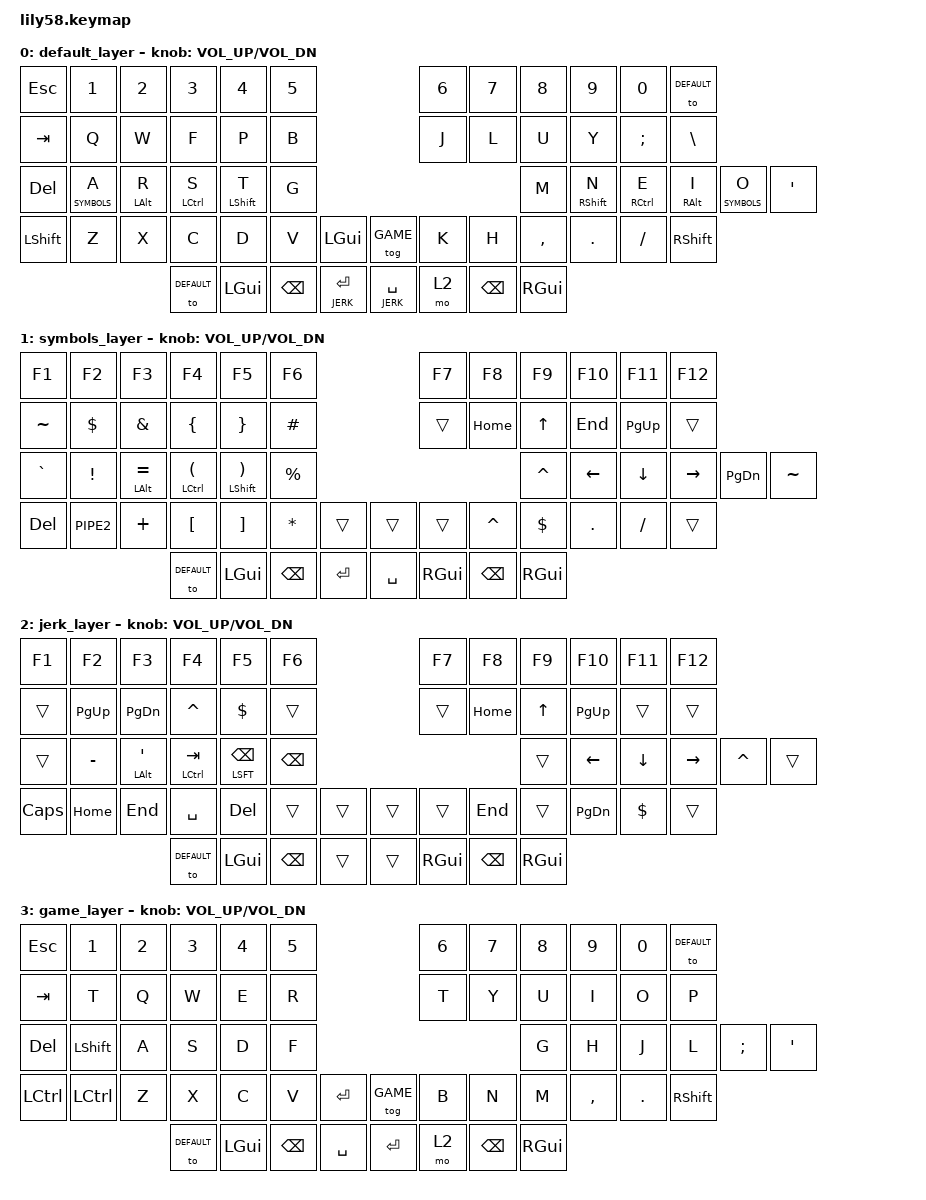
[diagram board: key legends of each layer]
/*
 * Copyright (c) 2020 The ZMK Contributors
 *
 * SPDX-License-Identifier: MIT
 */

#include <behaviors.dtsi>
#include <dt-bindings/zmk/keys.h>
#include <dt-bindings/zmk/bt.h>
#include <dt-bindings/zmk/ext_power.h>
#define DEFAULT 0
#define SYMBOLS 1
#define JERK   2
#define GAME   3




/ {

    behaviors {        
		hm: homerow_mods {            
			compatible = "zmk,behavior-hold-tap";            
			label = "HOMEROW_MODS";            
			#binding-cells = <2>;            
			tapping-term-ms = <110>;            
			quick_tap_ms = <0>;            
			flavor = "balanced";            
			bindings = <&kp>, <&kp>;        
		};    
	};
	/*
	Index starts at 0. 
	Left thumb is 50, right thumb is 51
	Home pinky left is 25. Home pinky right is 34
	Bottom row left pinky is 37.
	*/
    combos {        
		compatible = "zmk,combos";        
		
		combo_bspc {            
			timeout-ms = <75>;            
			key-positions = <27 53>;            
			bindings = <&kp BSPC>;        
		};
		combo_min {            
			timeout-ms = <50>;            
			key-positions = <25 53>;            
			bindings = <&kp MINUS>;  
		}; 
		combo_quot { 
			timeout-ms = <50>;             
			key-positions = <26 53>;            
			bindings = <&kp QUOT>;  
		};   
		combo_min2 {            
			timeout-ms = <50>;            
			key-positions = <15 16>;            
			bindings = <&kp MINUS>;  
		}; 
		combo_quot2 { 
			timeout-ms = <50>;             
			key-positions = <39 40>;            
			bindings = <&kp QUOT>;  
		};
	};
		     
	keymap {
		compatible = "zmk,keymap";

		default_layer {
// ------------------------------------------------------------------------------------------------------------
// |  ESC  |  1  |  2  |  3   |  4   |  5   |                   |  6   |  7    |  8    |  9   |   0   |   `   |
// |  TAB  |  Q  |  W  |  F   |  P   |  B   |                   |  J   |  L    |  U    |  Y   |   ;   |   -   |
// |  CTRL |  A  |  R  |  S   |  T   |  G   |                   |  M   |  N    |  E    |  I   |   O   |   '   |
// | SHIFT |  Z  |  X  |  C   |  V   |  B   |   "["  |  |  "]"  |  K   |  H    |  ,    |  .   |   /   | SHIFT, |
//                     | ALT  | GUI  | LOWER|  SPACE |  | ENTER | RAISE| BSPC  | GUI   |
			bindings = <
                       &kp ESC   &kp N1 &kp N2 &kp N3   &kp N4   &kp N5                     &kp N6 &kp N7   &kp N8    &kp N9  &kp N0   &to DEFAULT
                       &kp TAB   &kp Q  &kp W  &kp F   &kp P    &kp B                      &kp J  &kp L    &kp U     &kp Y   &kp SEMI    &kp BSLH
&kp DEL &lt SYMBOLS A  &hm LALT R  &hm LCTRL S    &hm LSHIFT T   &kp G                      &kp M  &hm RSHIFT N    &hm RCTRL E     &hm RALT I   &lt SYMBOLS O &kp SQT
&kp LSHFT &kp Z  &kp X  &kp C    &kp D    &kp V  &kp LGUI                  &tog GAME                     &kp K  &kp H    &kp COMMA &kp DOT &kp FSLH &kp RSHFT
                                  &to DEFAULT &kp LGUI &kp BSPC   &lt JERK RET                     &lt JERK SPC  &mo 2  &kp BSPC &kp RGUI
			>;

			sensor-bindings = <&inc_dec_kp C_VOL_UP C_VOL_DN>;
		};

		symbols_layer {
// ------------------------------------------------------------------------------------------------------------
// | BTCLR | BT1 | BT2 |  BT3 |  BT4 |  BT5 |                   |      |       |       |      |       |       |
// |  F1   |  F2 |  F3 |  F4  |  F5  |  F6  |                   |  F7  |  F8   |  F9   |  F10 |  F11  |  F12  |
// |   `   |  !  |  @  |  #   |  $   |  %   |                   |  ^   |  &    |  *    |  (   |   )   |   ~   |
// |       |     |     |      |      |      |        |  |       |      |  _    |  +    |  {   |   }   |  "|"  |
//                     |      |      |      |        |  |       |      |       |       |

		bindings = <
                   &kp F1 &kp F2 &kp F3 &kp F4 &kp F5 &kp F6      &kp  F7  &kp F8   &kp  F9 &kp F10  &kp  F11 &kp F12
   &kp TILDE  &kp DLLR &kp AMPS  &kp LBRC &kp RBRC &kp POUND      &trans &kp HOME &kp UP &kp END &kp PG_UP &trans
   &kp GRAVE  &kp EXCL &hm LALT EQUAL  &hm LCTRL LPAR    &hm LSHIFT RPAR  &kp PRCNT      &kp CARET &kp LEFT &kp DOWN  &kp RIGHT &kp PG_DN  &kp TILDE
&kp DEL &kp PIPE2 &kp PLUS &kp LBKT &kp RBKT &kp STAR &trans      &trans &trans &kp CARET &kp DLLR &kp DOT  &kp FSLH  &trans
                          &to DEFAULT &kp LGUI &kp BSPC &kp RET      &kp SPACE  &kp RGUI  &kp BSPC &kp RGUI
			>;

			sensor-bindings = <&inc_dec_kp C_VOL_UP C_VOL_DN>;
		};
		jerk_layer {
// ------------------------------------------------------------------------------------------------------------
// | BTCLR | BT1 | BT2 |  BT3 |  BT4 |  BT5 |                   |      |       |       |      |       |       |
// |  F1   |  F2 |  F3 |  F4  |  F5  |  F6  |                   |  F7  |  F8   |  F9   |  F10 |  F11  |  F12  |
// |   `   |  !  |  @  |  #   |  $   |  %   |                   |  ^   |  &    |  *    |  (   |   )   |   ~   |[]
// |       |     |     |      |      |      |        |  |       |      |  _    |  +    |  {   |   }   |  "|"  |
//                     |      |      |      |        |  |       |      |       |       |

		bindings = <
&kp F1   &kp F2    &kp F3    &kp F4    &kp F5   &kp F6                       &kp F7    &kp F8   &kp F9   &kp F10   &kp F11  &kp F12
&trans   &kp PG_UP &kp PG_DN &kp CARET &kp DLLR &trans                       &trans    &kp HOME &kp UP   &kp PG_UP &trans   &trans
&trans   &kp MINUS &hm LALT QUOT  &hm LCTRL TAB   &hm LSFT BSPC &kp BSPC                       &trans    &kp LEFT &kp DOWN &kp RIGHT &kp CARET &trans
&kp CAPS &kp HOME  &kp END   &kp SPC   &kp DEL  &trans   &trans       &trans &trans    &kp END  &trans   &kp PG_DN &kp DLLR  &trans
                             &to DEFAULT  &kp LGUI &kp BSPC &trans       &trans &kp RGUI  &kp BSPC &kp RGUI
			>;
			sensor-bindings = <&inc_dec_kp C_VOL_UP C_VOL_DN>;
		};
			game_layer {
// ------------------------------------------------------------------------------------------------------------
// |  ESC  |  1  |  2  |  3   |  4   |  5   |                   |  6   |  7    |  8    |  9   |   0   |   `   |
// |  TAB  |  Q  |  W  |  F   |  P   |  B   |                   |  J   |  L    |  U    |  Y   |   ;   |   -   |
// |  CTRL |  A  |  R  |  S   |  T   |  G   |                   |  M   |  N    |  E    |  I   |   O   |   '   |
// | SHIFT |  Z  |  X  |  C   |  V   |  B   |   "["  |  |  "]"  |  K   |  H    |  ,    |  .   |   /   | SHIFT, |
//                     | ALT  | GUI  | LOWER|  SPACE |  | ENTER | RAISE| BSPC  | GUI   |
			bindings = <
&kp ESC   &kp N1     &kp N2 &kp N3   &kp N4   &kp N5                     &kp N6 &kp N7   &kp N8    &kp N9  &kp N0   &to DEFAULT
&kp TAB   &kp T      &kp Q  &kp W    &kp E    &kp R                      &kp T  &kp Y    &kp U     &kp I  &kp O    &kp P
&kp DEL   &kp LSHFT  &kp A  &kp S  &kp D    &kp F                    &kp G  &kp H    &kp  J   &kp L    &kp SEMI &kp SQT
&kp LCTRL &kp LCTRL  &kp Z  &kp X    &kp C    &kp V  &kp RET                  &tog GAME                     &kp B  &kp N    &kp M &kp COMMA  &kp DOT &kp RSHFT
                    &to DEFAULT &kp LGUI &kp BSPC   &kp SPC                     &kp RET  &mo 2  &kp BSPC &kp RGUI
			>;

			sensor-bindings = <&inc_dec_kp C_VOL_UP C_VOL_DN>;
		};
	
	};
};
